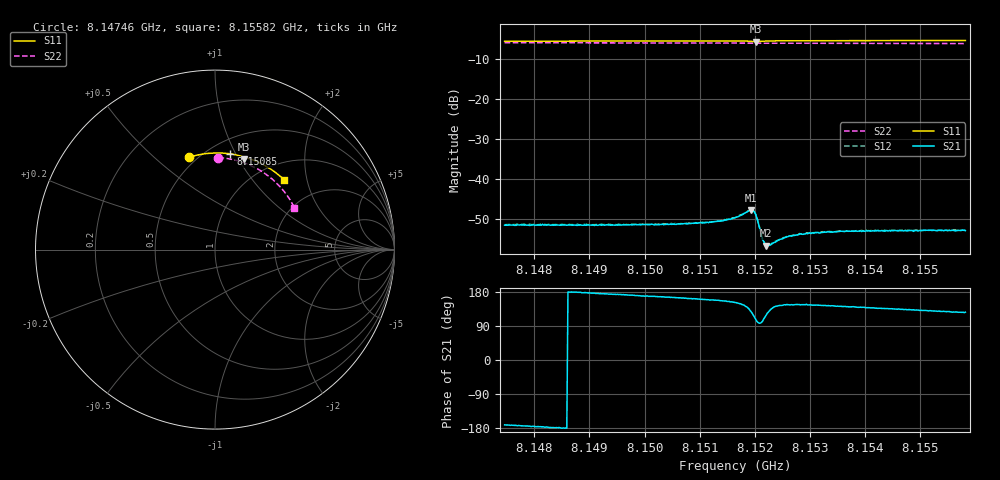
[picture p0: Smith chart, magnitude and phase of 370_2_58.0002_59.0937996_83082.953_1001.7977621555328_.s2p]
#  HZ  S  RI  R  50.00
! Rohde & Schwarz Vector Network Analyzer
! Rohde-Schwarz,ZNB20-2Port,1311601062101988,3.16
! Created: UTC 3/21/2024, 1:06:53 AM
! freq[Hz]  re:S11  im:S11  re:S21  im:S21  re:S12  im:S12  re:S22  im:S22
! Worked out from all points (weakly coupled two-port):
!   401 points, 8.14746 GHz to 8.15582 GHz, reference 50 ohm
!   highest |S21| = -47.81 dB at 8.15193 GHz (marker M1); lowest = -56.8 dB at 8.1522 GHz (marker M2)
!   lowest |S11| = -5.5 dB at 8.15202 GHz (marker M3), VSWR 3.25, Z = 37.5 + j52.6 ohm
!   |S11| at or under -10 dB: nowhere
!   |S22| runs from -6.0 to -5.8 dB; largest |S21 - S12| = 0.00012
!   S11 on the Smith chart (normalised r, x): 8.14746 GHz: 0.45, +0.65; 8.15085 GHz: 0.63, +0.95; 8.15582 GHz: 1.33, +1.47
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8.147463e9  -0.1474 0.5136  -0.00259 -0.000397  -0.00263 -0.000367  0.0194 0.5124
8.148862e9  -0.052 0.5345  -0.00261 0.000116  -0.00263 0.000148  0.1098 0.4992
8.150261e9  0.0453 0.5375  -0.00258 0.000606  -0.00262 0.000673  0.1951 0.4705
8.150846e9  0.0858 0.5333  -0.00262 0.000834  -0.00263 0.00088  0.2289 0.4541
8.151389e9  0.1241 0.5264  -0.00271 0.00118  -0.00274 0.00123  0.2588 0.4367
8.151639e9  0.142 0.5215  -0.00286 0.00154  -0.00284 0.00156  0.2723 0.4279
8.151932e9  0.1615 0.5086  -0.00248 0.00322  -0.00245 0.00324  0.2873 0.417
8.151974e9  0.1616 0.5058  -0.00185 0.00352  -0.00182 0.00355  0.2895 0.4154
8.152015e9  0.1605 0.5047  -0.00103 0.00341  -0.000993 0.00343  0.2915 0.4138
8.152057e9  0.16 0.506  -0.000444 0.00283  -0.000429 0.00286  0.2935 0.4125
8.152141e9  0.1641 0.5099  -0.000378 0.00166  -0.000393 0.0017  0.2979 0.4095
8.152162e9  0.1659 0.5104  -0.000525 0.00155  -0.000502 0.00156  0.2987 0.4087
8.152203e9  0.1693 0.5108  -0.000685 0.00128  -0.000673 0.00132  0.301 0.4071
8.152224e9  0.1712 0.5108  -0.000804 0.00123  -0.000781 0.0012  0.302 0.4062
8.152266e9  0.1746 0.5105  -0.000936 0.00112  -0.000964 0.00115  0.3041 0.4047
8.152412e9  0.1859 0.5085  -0.00134 0.00101  -0.00132 0.00107  0.3114 0.399
8.1526e9  0.1992 0.5045  -0.00156 0.00105  -0.00155 0.0011  0.3204 0.3911
8.15283e9  0.2147 0.4986  -0.00168 0.00116  -0.00168 0.00113  0.3315 0.3814
8.153039e9  0.2283 0.4931  -0.00172 0.00121  -0.00171 0.00123  0.3411 0.3725
8.153561e9  0.2613 0.4775  -0.00173 0.00136  -0.00173 0.00137  0.364 0.3488
8.154438e9  0.3134 0.4465  -0.00159 0.00158  -0.00157 0.00159  0.3987 0.306
8.155816e9  0.3871 0.3869  -0.00132 0.00181  -0.00125 0.00187  0.4428 0.2326
